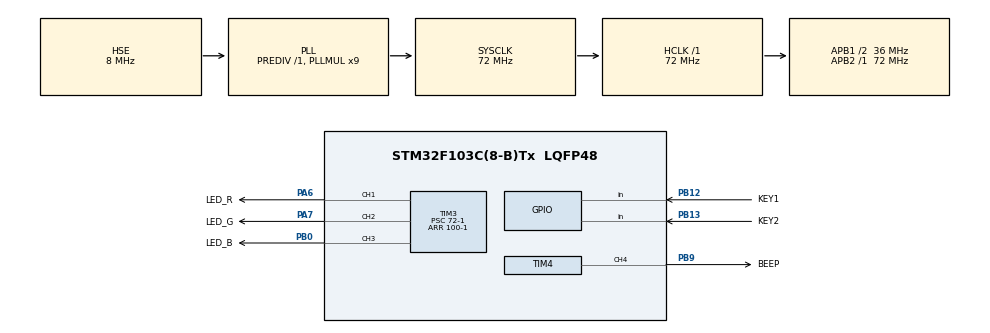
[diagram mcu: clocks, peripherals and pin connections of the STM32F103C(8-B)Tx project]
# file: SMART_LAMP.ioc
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Mcu.Family=STM32F1
Mcu.Name=STM32F103C(8-B)Tx
Mcu.Package=LQFP48
NVIC.PriorityGroup=NVIC_PRIORITYGROUP_4
PA13.Mode=Serial_Wire
PA13.Signal=SYS_JTMS-SWDIO
PA14.Mode=Serial_Wire
PA14.Signal=SYS_JTCK-SWCLK
PA6.GPIO_Label=LED_R
PA6.Signal=S_TIM3_CH1
PA7.GPIO_Label=LED_G
PA7.Signal=S_TIM3_CH2
PB0.GPIO_Label=LED_B
PB0.Signal=S_TIM3_CH3
PB12.GPIO_Label=KEY1
PB12.GPIO_PuPd=GPIO_PULLUP
PB12.Signal=GPIO_Input
PB13.GPIO_Label=KEY2
PB13.GPIO_PuPd=GPIO_PULLUP
PB13.Signal=GPIO_Input
PB9.GPIO_Label=BEEP
PB9.Signal=S_TIM4_CH4
PD0-OSC_IN.Mode=HSE-External-Oscillator
PD0-OSC_IN.Signal=RCC_OSC_IN
PD1-OSC_OUT.Mode=HSE-External-Oscillator
PD1-OSC_OUT.Signal=RCC_OSC_OUT
ProjectManager.HeapSize=0x200
ProjectManager.StackSize=0x400
ProjectManager.TargetToolchain=STM32CubeIDE
RCC.AHBFreq_Value=72000000
RCC.APB1CLKDivider=RCC_HCLK_DIV2
RCC.APB1Freq_Value=36000000
RCC.APB1TimFreq_Value=72000000
RCC.APB2Freq_Value=72000000
RCC.APB2TimFreq_Value=72000000
RCC.HCLKFreq_Value=72000000
RCC.PLLMUL=RCC_PLL_MUL9
RCC.PLLSourceVirtual=RCC_PLLSOURCE_HSE
RCC.SYSCLKFreq_VALUE=72000000
RCC.SYSCLKSource=RCC_SYSCLKSOURCE_PLLCLK
RCC.USBFreq_Value=72000000
SH.S_TIM3_CH1.0=TIM3_CH1,PWM Generation1 CH1
SH.S_TIM3_CH2.0=TIM3_CH2,PWM Generation2 CH2
SH.S_TIM3_CH3.0=TIM3_CH3,PWM Generation3 CH3
SH.S_TIM4_CH4.0=TIM4_CH4,PWM Generation4 CH4
TIM3.Channel-PWM\ Generation1\ CH1=TIM_CHANNEL_1
TIM3.Channel-PWM\ Generation2\ CH2=TIM_CHANNEL_2
TIM3.Channel-PWM\ Generation3\ CH3=TIM_CHANNEL_3
TIM3.Period=100-1
TIM3.Prescaler=72-1
TIM4.Channel-PWM\ Generation4\ CH4=TIM_CHANNEL_4
TIM4.Period=500-1
TIM4.Prescaler=72-1
VP_TIM3_VS_ClockSourceINT.Mode=Internal
VP_TIM4_VS_ClockSourceINT.Mode=Internal
board=custom

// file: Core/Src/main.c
/* USER CODE BEGIN Header */
/**
 ******************************************************************************
 * @file    : main.c
 * @brief   : 屿光民宿智能氛围床头灯 - 主程序
 *
 * 需求实现一览（对应甲方订单 6 条）：
 *   1. 仪式感点亮   : 上电后 0.4s 静默 -> 2.5s 缓入渐亮至 30% 暖金 -> 双脉冲收尾
 *   2. 多种灯光模式 : 常亮暖光 / 柔和呼吸 / 流光幻彩 / 深夜微光，KEY1 短按循环切换
 *   3. 深夜模式     : 固定约 9% 占空比深琥珀微光，盯看 10 秒不晃眼
 *   4. 温柔唤醒     : KEY1 长按 1.2s 模拟"早 7 点"，30 秒由 2% 深琥珀缓亮至 60% 暖白
 *   5. 火警警示     : KEY2 一键触发/解除，红灯 2Hz 快闪 + 蜂鸣器 2kHz 报警，优先级最高
 *   6. 按键一次成功 : 20ms 消抖 + 事件边沿化，一次按压只产生一次动作
 *
 * 硬件（STM32F103C8T6 开发板套件）：
 *   PA6 -> TIM3_CH1 -> RGB 灯 R      PB12 -> KEY1（低电平有效，内部上拉）
 *   PA7 -> TIM3_CH2 -> RGB 灯 G      PB13 -> KEY2（低电平有效，内部上拉）
 *   PB0 -> TIM3_CH3 -> RGB 灯 B      PB9  -> TIM4_CH4 -> 无源蜂鸣器
 ******************************************************************************
 */
/* USER CODE END Header */
#include "main.h"
#include "tim.h"
#include "gpio.h"

/* USER CODE BEGIN PD */
/*---------------------- 用户配置区 ----------------------*/
#define PWM_MAX            99U   /* TIM3 ARR=99，CCR 0-99 即 0%-100% 占空比 */

/* 按键参数 */
#define KEY_DEBOUNCE_MS    20U   /* 20ms 电平稳定才确认，抖动一律忽略 */
#define KEY_LONGPRESS_MS   1200U /* 按住 1.2s 判定为长按 */

/* 仪式感点亮时序 */
#define RITUAL_DARK_MS     400U  /* 静默酝酿 */
#define RITUAL_FADE_MS     2500U /* 0 -> 30% 缓入渐亮 */
#define RITUAL_GLOW_MS     1000U /* 收尾"双脉冲"呼吸 */

/* 温柔唤醒时序 */
#define WAKE_TOTAL_MS      30000U /* 30 秒渐亮 */
#define WAKE_CHIRP_LEN_MS  60U    /* 单次鸣叫时长 */
#define WAKE_CHIRP_COUNT   3U     /* 尾段共 3 声轻鸣 */

/* 尾段三声轻鸣的起始时刻（相对唤醒起点）：20.0s / 24.0s / 28.5s
   间隔 4.0s -> 4.5s，逐渐放缓：越到后面越舍不得叫你 */
static const uint16_t WAKE_CHIRP_AT_MS[WAKE_CHIRP_COUNT] = { 20000U, 24000U, 28500U };

/* 火警闪烁节拍 */
#define FIRE_HALF_MS       250U  /* 亮 250ms / 灭 250ms => 2Hz 快闪 */

/* 灯珠极性：0=共阴极（默认）；若自检发现灯亮在第三段（占空比全关那2秒），改 1 重烧 */
#define LED_INVERT         0
/*---------------------- 用户配置区 END ------------------*/
/* USER CODE END PD */

/* USER CODE BEGIN PV */
/* 灯光模式 */
typedef enum {
  MODE_WARM = 0,  /* 常亮暖光（氛围常亮） */
  MODE_BREATH,    /* 柔和呼吸            */
  MODE_FLOW,      /* 流光幻彩（色环轮转） */
  MODE_NIGHT,     /* 深夜微光            */
  MODE_NUM
} ModeType;

/* 顶层状态（火警/唤醒拥有独立最高优先级） */
typedef enum {
  ST_RITUAL = 0,  /* 仪式感点亮（仅上电一次） */
  ST_RUN,         /* 正常模式运行             */
  ST_WAKE,        /* 温柔唤醒                 */
  ST_FIRE         /* 火警紧急警示             */
} StateType;

/* 按键事件（一次按压只产生一个事件 = 需求6） */
typedef enum {
  KEVT_NONE = 0,
  KEVT_DOWN,   /* 确认按下（消抖后） */
  KEVT_SHORT,  /* 短按（松手时产生） */
  KEVT_LONG    /* 长按（按住达标时产生，松手不再重复） */
} KeyEvent;

/* 按键扫描状态 */
typedef struct {
  uint8_t  rawLast;     /* 上次原始电平 */
  uint8_t  stable;      /* 消抖后稳定电平：0=按下 1=松开 */
  uint32_t lastChange;  /* 原始电平最近变化时刻 */
  uint32_t pressStart;  /* 本次按下起始时刻 */
  uint8_t  longFired;   /* 长按事件已触发标记 */
} KeyState;

static KeyState key1, key2;
/* USER CODE END PV */

void SystemClock_Config(void);
/* USER CODE BEGIN PFP */
static void     Lamp_SetRGB(uint8_t r, uint8_t g, uint8_t b);
static void     Lamp_Warm(uint8_t pct);
static void     Lamp_Hue(uint16_t hue, uint8_t val);
static void     Buzzer_Set(uint16_t freqHz, uint8_t dutyPct);
static void     Buzzer_Off(void);
static KeyEvent Key_Scan(KeyState *k, GPIO_TypeDef *port, uint16_t pin);
static void     Key_Init(KeyState *k);
/* USER CODE END PFP */

/* USER CODE BEGIN 0 */

/**
 * @brief  直接设置 RGB 三路 PWM 占空比（0-99）
 */
static void Lamp_SetRGB(uint8_t r, uint8_t g, uint8_t b)
{
#if LED_INVERT
  /* 共阳极灯珠：占空比语义取反 */
  r = (uint8_t)(PWM_MAX - r);
  g = (uint8_t)(PWM_MAX - g);
  b = (uint8_t)(PWM_MAX - b);
#endif
  __HAL_TIM_SET_COMPARE(&htim3, TIM_CHANNEL_1, r);
  __HAL_TIM_SET_COMPARE(&htim3, TIM_CHANNEL_2, g);
  __HAL_TIM_SET_COMPARE(&htim3, TIM_CHANNEL_3, b);
}

/**
 * @brief  暖色光：pct% 亮度的暖琥珀（色温配比 R:G:B = 100:55:8）
 */
static void Lamp_Warm(uint8_t pct)
{
  if (pct > 100U) { pct = 100U; }
  Lamp_SetRGB((uint8_t)((uint32_t)PWM_MAX * pct / 100U),
              (uint8_t)((uint32_t)PWM_MAX * pct * 55U / 10000U),
              (uint8_t)((uint32_t)PWM_MAX * pct * 8U / 10000U));
}

/**
 * @brief  HSV 色环取色（S=100%），用于流光幻彩模式
 * @param  hue 0-359 度；val 明度 0-100
 */
static void Lamp_Hue(uint16_t hue, uint8_t val)
{
  uint16_t h = (uint16_t)(hue % 360U);
  uint8_t  region = (uint8_t)(h / 60U);
  uint16_t rem = (uint16_t)((h % 60U) * PWM_MAX / 60U); /* 0-99 */
  uint8_t p = (uint8_t)((uint32_t)PWM_MAX * val / 100U);
  uint8_t q = (uint8_t)((uint32_t)(PWM_MAX - rem) * val / 100U);
  uint8_t t = (uint8_t)((uint32_t)rem * val / 100U);
  uint8_t r = 0, g = 0, b = 0;

  switch (region) {
    case 0: r = p; g = t; b = 0; break;
    case 1: r = q; g = p; b = 0; break;
    case 2: r = 0; g = p; b = t; break;
    case 3: r = 0; g = q; b = p; break;
    case 4: r = t; g = 0; b = p; break;
    default: r = p; g = 0; b = q; break;
  }
  Lamp_SetRGB(r, g, b);
}

/**
 * @brief  无源蜂鸣器发声：freqHz 频率，dutyPct 占空比（越小越柔和）
 */
static void Buzzer_Set(uint16_t freqHz, uint8_t dutyPct)
{
  uint32_t arr;
  if (freqHz == 0U) { Buzzer_Off(); return; }
  arr = 1000000U / freqHz;                 /* TIM4 计数时钟 = 72MHz/72 = 1MHz */
  if (arr > 0U) { __HAL_TIM_SET_AUTORELOAD(&htim4, arr - 1U); }
  __HAL_TIM_SET_COMPARE(&htim4, TIM_CHANNEL_4, arr * dutyPct / 100U);
}

static void Buzzer_Off(void)
{
  __HAL_TIM_SET_COMPARE(&htim4, TIM_CHANNEL_4, 0U);
}

/**
 * @brief  按键初始化状态
 */
static void Key_Init(KeyState *k)
{
  k->rawLast = 1U;
  k->stable = 1U;
  k->lastChange = HAL_GetTick();
  k->pressStart = 0U;
  k->longFired = 0U;
}

/**
 * @brief  按键扫描（每轮主循环调用，非阻塞）
 *         消抖策略（需求6）：原始电平需稳定保持 20ms 才被接受；
 *         事件边沿化：短按在"松手"时产生、长按在"按住 1.2s"时产生一次，
 *         因此一次物理按压永远只产生一个动作，绝不"按一次响应两次"。
 */
static KeyEvent Key_Scan(KeyState *k, GPIO_TypeDef *port, uint16_t pin)
{
  uint8_t raw = (HAL_GPIO_ReadPin(port, pin) == GPIO_PIN_RESET) ? 0U : 1U;
  uint32_t now = HAL_GetTick();

  /* 原始电平刚变化：记录时刻，等待稳定 */
  if (raw != k->rawLast) {
    k->rawLast = raw;
    k->lastChange = now;
    return KEVT_NONE;
  }

  /* 稳定时间达标才翻转状态 */
  if ((raw != k->stable) && ((now - k->lastChange) >= KEY_DEBOUNCE_MS)) {
    k->stable = raw;
    if (raw == 0U) {                 /* 确认按下 */
      k->pressStart = now;
      k->longFired = 0U;
      return KEVT_DOWN;
    }
    return (k->longFired != 0U) ? KEVT_NONE : KEVT_SHORT; /* 松手出短按 */
  }

  /* 按住达标：长按只触发一次 */
  if ((k->stable == 0U) && (k->longFired == 0U) &&
      ((now - k->pressStart) >= KEY_LONGPRESS_MS)) {
    k->longFired = 1U;
    return KEVT_LONG;
  }
  return KEVT_NONE;
}

/* USER CODE END 0 */

int main(void)
{

  /* MCU Configuration--------------------------------------------------------*/

  /* Reset of all peripherals, Initializes the Flash interface and the Systick. */
  HAL_Init();

  /* Configure the system clock */
  SystemClock_Config();

  /* Initialize all configured peripherals */
  MX_GPIO_Init();
  MX_TIM3_Init();
  /* USER CODE BEGIN 2 */
  MX_TIM4_Init();                              /* 蜂鸣器定时器（手动扩展） */

  HAL_TIM_PWM_Start(&htim3, TIM_CHANNEL_1);    /* RGB 三路 PWM 输出 */
  HAL_TIM_PWM_Start(&htim3, TIM_CHANNEL_2);
  HAL_TIM_PWM_Start(&htim3, TIM_CHANNEL_3);
  HAL_TIM_PWM_Start(&htim4, TIM_CHANNEL_4);    /* 蜂鸣器 PWM 输出 */
  Buzzer_Off();

  /*========== 上电自检（约 7 秒）：先证明固件活着，再暴露灯珠极性 ==========
    段1 (3s)：RGB 2Hz 闪烁 + 蜂鸣叫 —— 只要接了线，任何极性都一定闪/响
    段2 (2s)：占空比全开 99     段3 (2s)：占空比全关 0
    判据：灯亮在段2 = 共阴极（现状即可用）；亮在段3 = 共阳极（LED_INVERT 改 1 重烧） */
  {
    uint8_t bi;
    for (bi = 0; bi < 6U; bi++) {
      Lamp_SetRGB(99U, 99U, 99U);
      Buzzer_Set(2000U, 20U);
      HAL_Delay(250);
      Lamp_SetRGB(0U, 0U, 0U);
      Buzzer_Off();
      HAL_Delay(250);
    }
    Lamp_SetRGB(99U, 99U, 99U);
    HAL_Delay(2000);
    Lamp_SetRGB(0U, 0U, 0U);
    HAL_Delay(2000);
  }

  /*---------------- 应用状态变量 ----------------*/
  StateType state = ST_RITUAL;
  ModeType  mode = MODE_WARM;        /* 当前灯光模式 */
  ModeType  modeBeforeWake = MODE_WARM; /* 唤醒前的模式（唤醒结束后可恢复） */
  uint8_t   warmLevel = 30U;         /* 常亮暖光亮度（%） */
  uint32_t  effectStart = HAL_GetTick(); /* 当前光效起始时刻（呼吸/流光/唤醒/火警复用） */
  uint8_t   breathPos = 0U;          /* 呼吸相位 0-99 */
  int8_t    breathDir = 1;           /* 呼吸方向 */
  uint32_t  lastTick = HAL_GetTick();    /* 10ms 光效节拍 */
  uint32_t  lastFire = HAL_GetTick();    /* 火警闪烁节拍 */
  uint8_t   chirpIndex = 0U;         /* 轻鸣序号 0-2（尾段共 3 声） */
  uint32_t  chirpUntil = 0U;         /* 鸣叫截止时刻 */
  (void)modeBeforeWake;

  Key_Init(&key1);
  Key_Init(&key2);
  /* USER CODE END 2 */

  /* Infinite loop */
  /* USER CODE BEGIN WHILE */
  while (1)
  {
    uint32_t now = HAL_GetTick();
    KeyEvent e1 = Key_Scan(&key1, KEY1_GPIO_Port, KEY1_Pin);
    KeyEvent e2 = Key_Scan(&key2, KEY2_GPIO_Port, KEY2_Pin);

    /*============== 需求5：火警一键触发/解除（优先级最高）==============*/
    if (e2 == KEVT_DOWN) {
      if (state == ST_FIRE) {          /* KEY2 再按：解除火警，恢复原模式 */
        Buzzer_Off();
        state = ST_RUN;
        effectStart = now;
      } else {                          /* KEY2 按下：立即进入火警警示 */
        state = ST_FIRE;
        lastFire = now;
        Buzzer_Off();
      }
    }

    /*============== KEY1：模式切换 / 唤醒（火警时屏蔽）==============*/
    if (state != ST_FIRE) {
      if (e1 == KEVT_LONG) {
        if (state == ST_WAKE) {         /* 唤醒中长按：取消唤醒 */
          Buzzer_Off();
          state = ST_RUN;
          Lamp_Warm(warmLevel);
        } else {                        /* 长按 1.2s：模拟"早 7 点"温柔唤醒 */
          modeBeforeWake = mode;
          state = ST_WAKE;
          effectStart = now;
          chirpIndex = 0U;
          chirpUntil = 0U;
        }
      } else if (e1 == KEVT_SHORT) {
        if (state == ST_RITUAL) {       /* 仪式点亮中短按：直接进入常亮 */
          state = ST_RUN;
          mode = MODE_WARM;
          warmLevel = 30U;
          Lamp_Warm(warmLevel);
        } else if (state == ST_WAKE) {  /* 唤醒中短按：跳过，直接常亮 */
          Buzzer_Off();
          state = ST_RUN;
          warmLevel = 60U;
          mode = MODE_WARM;
          Lamp_Warm(warmLevel);
        } else {                        /* 正常状态：循环切换 4 种模式（需求2）*/
          mode = (ModeType)((mode + 1U) % MODE_NUM);
          effectStart = now;
          breathPos = 0U;
          breathDir = 1;
          if (mode == MODE_NIGHT) {
            Lamp_SetRGB(9U, 5U, 1U);    /* 需求3：深夜微光 */
          } else if (mode == MODE_WARM) {
            Lamp_Warm(warmLevel);
          }
        }
      }
    }

    /*============== 10ms 节拍：更新光效 ==============*/
    if ((now - lastTick) >= 10U) {
      lastTick = now;

      switch (state) {

        /*------ 需求1：仪式感点亮 ------*/
        case ST_RITUAL: {
          uint32_t t = now - effectStart;
          if (t < RITUAL_DARK_MS) {
            Lamp_SetRGB(0U, 0U, 0U);                       /* 0-0.4s：静默酝酿 */
          } else if (t < RITUAL_DARK_MS + RITUAL_FADE_MS) {
            /* 2.5s 缓入渐亮 0 -> 30%（二次缓动：慢起 -> 饱和）*/
            uint32_t u = (t - RITUAL_DARK_MS) * 255U / RITUAL_FADE_MS; /* 0-255 */
            uint32_t e = (u * (510U - u)) >> 8;                         /* 缓动 0-255 */
            Lamp_Warm((uint8_t)(30U * e / 255U));
          } else if (t < RITUAL_DARK_MS + RITUAL_FADE_MS + RITUAL_GLOW_MS) {
            /* 收尾双脉冲：30% -> 60% -> 30% -> 55% -> 30%，像一次深呼吸（加强版） */
            uint32_t p = t - RITUAL_DARK_MS - RITUAL_FADE_MS; /* 0-1000ms */
            uint8_t lv;
            if (p < 250U)       { lv = (uint8_t)(30U + 30U * p / 250U); }
            else if (p < 500U)  { lv = (uint8_t)(60U - 30U * (p - 250U) / 250U); }
            else if (p < 700U)  { lv = (uint8_t)(30U + 25U * (p - 500U) / 200U); }
            else                { lv = (uint8_t)(55U - 25U * (p - 700U) / 300U); }
            Lamp_Warm(lv);
          } else {
            state = ST_RUN;            /* 点亮完成，进入常亮暖光 */
            mode = MODE_WARM;
            warmLevel = 30U;
            Lamp_Warm(warmLevel);
          }
          break;
        }

        /*------ 4 种灯光模式（需求2/3）------*/
        case ST_RUN:
          switch (mode) {
            case MODE_WARM:
              Lamp_Warm(warmLevel);    /* 常亮暖光 */
              break;

            case MODE_BREATH:
              /* 柔和呼吸：CCR 每 10ms 步进 +/-1，0->99->0，周期约 2 秒 */
              if (breathDir > 0) {
                if (++breathPos >= 99U) { breathDir = -1; }
              } else {
                if (--breathPos == 0U) { breathDir = 1; }
              }
              Lamp_Warm(breathPos);    /* 0-99% 暖色呼吸 */
              break;

            case MODE_FLOW:
              /* 流光幻彩：8 秒轮转一整圈色环 */
              Lamp_Hue((uint16_t)(((now - effectStart) * 9U / 200U) % 360U), 80U);
              break;

            case MODE_NIGHT:
            default:
              Lamp_SetRGB(9U, 5U, 1U); /* 深夜微光：约 9% 占空比深琥珀 */
              break;
          }
          break;

        /*------ 需求4：温柔唤醒（30 秒渐亮）------*/
        case ST_WAKE: {
          uint32_t t = now - effectStart;
          if (t >= WAKE_TOTAL_MS) {
            Buzzer_Off();
            warmLevel = 60U;
            mode = MODE_WARM;
            state = ST_RUN;
            Lamp_Warm(warmLevel);
          } else {
            /* 亮度：2% -> 60%，缓入曲线（慢起，不惊醒）*/
            uint32_t p = t * 255U / WAKE_TOTAL_MS;      /* 0-255 */
            uint32_t e = (p * p) / 255U;                /* 缓入 0-255 */
            uint8_t  pct = (uint8_t)(2U + 58U * e / 255U);
            /* 色温：深琥珀(R:G:B=100:30:0) -> 暖白(100:55:8) */
            uint8_t  gRatio = (uint8_t)(30U + 25U * p / 255U);
            uint8_t  bRatio = (uint8_t)(8U * p / 255U);
            Lamp_SetRGB((uint8_t)((uint32_t)PWM_MAX * pct / 100U),
                        (uint8_t)((uint32_t)PWM_MAX * pct * gRatio / 10000U),
                        (uint8_t)((uint32_t)PWM_MAX * pct * bRatio / 10000U));
            /* 尾段 3 声轻鸣：20.0s / 24.0s / 28.5s，每声 60ms、3kHz
               间隔 4.0s -> 4.5s 逐渐放缓，避免像闹钟那样机械重复 */
            if (chirpUntil != 0U && now >= chirpUntil) {
              chirpUntil = 0U;
              Buzzer_Off();
            }
            if ((chirpIndex < WAKE_CHIRP_COUNT) && (t >= WAKE_CHIRP_AT_MS[chirpIndex])) {
              chirpIndex++;
              chirpUntil = now + WAKE_CHIRP_LEN_MS;
              Buzzer_Set(3000U, 10U);
            }
          }
          break;
        }

        /*------ 需求5：火警紧急警示 ------*/
        case ST_FIRE:
        default:
          /* 500ms 周期：前 250ms 红灯+蜂鸣，后 250ms 静默 => 2Hz 刺眼快闪 */
          if (((now - lastFire) % (FIRE_HALF_MS * 2U)) < FIRE_HALF_MS) {
            /* 前半拍：红灯全亮 + 蜂鸣 */
            Lamp_SetRGB(PWM_MAX, 0U, 0U);
            Buzzer_Set(2000U, 20U);
          } else {
            Lamp_SetRGB(0U, 0U, 0U);
            Buzzer_Off();
          }
          break;
      }
    }
    /* USER CODE END WHILE */

  }
}

void SystemClock_Config(void)
{
  RCC_OscInitTypeDef RCC_OscInitStruct = {0};
  RCC_ClkInitTypeDef RCC_ClkInitStruct = {0};

  /** Initializes the RCC Oscillators according to the specified parameters
  * in the RCC_OscInitTypeDef structure.
  */
  RCC_OscInitStruct.OscillatorType = RCC_OSCILLATORTYPE_HSE;
  RCC_OscInitStruct.HSEState = RCC_HSE_ON;
  RCC_OscInitStruct.HSEPredivValue = RCC_HSE_PREDIV_DIV1;
  RCC_OscInitStruct.HSIState = RCC_HSI_ON;
  RCC_OscInitStruct.PLL.PLLState = RCC_PLL_ON;
  RCC_OscInitStruct.PLL.PLLSource = RCC_PLLSOURCE_HSE;
  RCC_OscInitStruct.PLL.PLLMUL = RCC_PLL_MUL9;
  if (HAL_RCC_OscConfig(&RCC_OscInitStruct) != HAL_OK)
  {
    /* HSE 晶振不可用时退回 HSI 时钟，保证程序绝不卡死 */
    RCC_OscInitStruct.OscillatorType = RCC_OSCILLATORTYPE_HSI;
    RCC_OscInitStruct.HSEState = RCC_HSE_OFF;
    RCC_OscInitStruct.HSIState = RCC_HSI_ON;
    RCC_OscInitStruct.HSICalibrationValue = RCC_HSICALIBRATION_DEFAULT;
    RCC_OscInitStruct.PLL.PLLState = RCC_PLL_ON;
    RCC_OscInitStruct.PLL.PLLSource = RCC_PLLSOURCE_HSI_DIV2;
    RCC_OscInitStruct.PLL.PLLMUL = RCC_PLL_MUL9;
    if (HAL_RCC_OscConfig(&RCC_OscInitStruct) != HAL_OK)
    {
      Error_Handler();
    }
  }

  /** Initializes the CPU, AHB and APB buses clocks
  */
  RCC_ClkInitStruct.ClockType = RCC_CLOCKTYPE_HCLK|RCC_CLOCKTYPE_SYSCLK
                              |RCC_CLOCKTYPE_PCLK1|RCC_CLOCKTYPE_PCLK2;
  RCC_ClkInitStruct.SYSCLKSource = RCC_SYSCLKSOURCE_PLLCLK;
  RCC_ClkInitStruct.AHBCLKDivider = RCC_SYSCLK_DIV1;
  RCC_ClkInitStruct.APB1CLKDivider = RCC_HCLK_DIV2;
  RCC_ClkInitStruct.APB2CLKDivider = RCC_HCLK_DIV1;

  if (HAL_RCC_ClockConfig(&RCC_ClkInitStruct, FLASH_LATENCY_2) != HAL_OK)
  {
    Error_Handler();
  }
}

void Error_Handler(void)
{
  __disable_irq();
  while (1)
  {
  }
}

#ifdef  USE_FULL_ASSERT
/**
  * @brief  Reports the name of the source file and the source line number
  *         where the assert_param error has occurred.
  * @param  file: pointer to the source file name
  * @param  line: assert_param error line source number
  * @retval None
  */
void assert_failed(uint8_t *file, uint32_t line)
{
  /* USER CODE BEGIN 6 */
  (void)file;
  (void)line;
  /* USER CODE END 6 */
}
#endif /* USE_FULL_ASSERT */
